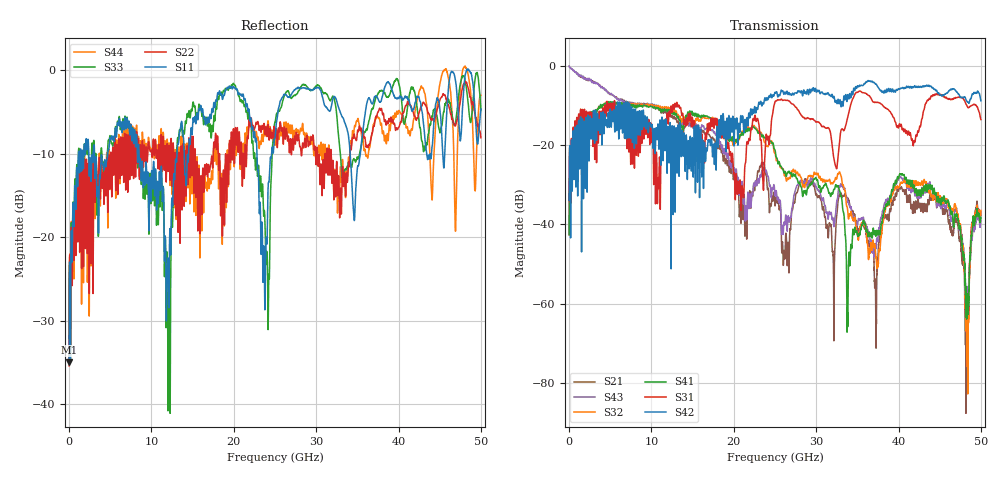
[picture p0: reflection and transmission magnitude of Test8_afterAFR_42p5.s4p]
! TouchStone data converted from IdEM dataset
# Hz S DB R 4.250000e+001
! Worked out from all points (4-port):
!   5001 points, 10 MHz to 50 GHz, reference 42.5 ohm
!   strongest paths, dB at 10 MHz, 12.51 GHz, 25 GHz, 37.5 GHz, 50 GHz:
!     S42: -33.9, -15.1, -6.7, -5.3, -8.8
!     S31: -34.0, -11.8, -9.1, -9.2, -13.5
!     S41: -42.6, -11.5, -21.2, -42.6, -38.3
!     S32: -42.6, -10.8, -22.0, -50.2, -36.5
!     S43: -0.1, -11.2, -32.6, -43.7, -39.0
!     S21: -0.1, -12.5, -35.2, -48.7, -36.8
!   lowest |S11| = -35.0 dB at 10 MHz (marker M1), VSWR 1.04, Z = 43.1 + j1.39 ohm
!   |S11| at or under -10 dB: 3.072 GHz to 4.698 GHz (1.626 GHz wide, 41.8 % of centre); 8.501 GHz to 13.11 GHz (4.613 GHz wide, 42.7 % of centre); 22.81 GHz to 24.59 GHz (1.775 GHz wide, 7.49 % of centre)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
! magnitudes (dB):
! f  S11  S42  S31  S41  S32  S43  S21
! 10 MHz  -35.0  -33.9  -34.0  -42.6  -42.6  -0.1  -0.1
! 4.309 GHz  -10.8  -13.1  -10.8  -9.5  -9.4  -6.0  -6.1
! 22.45 GHz  -7.8  -11.7  -13.8  -15.4  -15.0  -29.6  -30.2
! 33.9 GHz  -7.7  -7.7  -12.2  -53.3  -38.3  -34.5  -33.6
! 44.27 GHz  -6.3  -5.9  -7.5  -31.4  -32.7  -31.9  -32.3
! 48.31 GHz  0.1  -8.9  -10.1  -61.0  -68.8  -65.0  -63.8
! 50 GHz  -4.7  -8.8  -13.5  -38.3  -36.5  -39.0  -36.8
